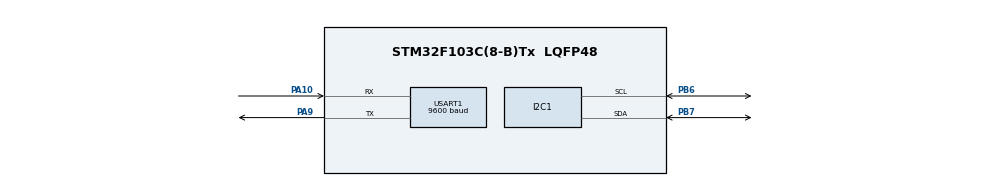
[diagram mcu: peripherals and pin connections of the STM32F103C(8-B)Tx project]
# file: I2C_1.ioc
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Mcu.Family=STM32F1
Mcu.Name=STM32F103C(8-B)Tx
Mcu.Package=LQFP48
NVIC.I2C1_ER_IRQn=true\:0\:0\:false\:false\:true\:true\:true\:true
NVIC.I2C1_EV_IRQn=true\:0\:0\:false\:false\:true\:true\:true\:true
NVIC.PriorityGroup=NVIC_PRIORITYGROUP_4
NVIC.USART1_IRQn=true\:0\:0\:false\:false\:true\:true\:true\:true
PA10.Mode=Asynchronous
PA10.Signal=USART1_RX
PA13.Mode=Serial_Wire
PA13.Signal=SYS_JTMS-SWDIO
PA14.Mode=Serial_Wire
PA14.Signal=SYS_JTCK-SWCLK
PA9.Mode=Asynchronous
PA9.Signal=USART1_TX
PB6.Mode=I2C
PB6.Signal=I2C1_SCL
PB7.Mode=I2C
PB7.Signal=I2C1_SDA
ProjectManager.HeapSize=0x200
ProjectManager.StackSize=0x400
ProjectManager.TargetToolchain=STM32CubeIDE
RCC.APB1Freq_Value=8000000
RCC.APB2Freq_Value=8000000
USART1.BaudRate=9600
USART1.VirtualMode=VM_ASYNC
board=custom

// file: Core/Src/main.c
/* USER CODE BEGIN Header */
/**
  ******************************************************************************
  * @file           : main.c
  * @brief          : Main program body
  ******************************************************************************
  * @attention
  *
  * Copyright (c) 2024 STMicroelectronics.
  * All rights reserved.
  *
  * This software is licensed under terms that can be found in the LICENSE file
  * in the root directory of this software component.
  * If no LICENSE file comes with this software, it is provided AS-IS.
  *
  ******************************************************************************
  */
/* USER CODE END Header */
#include "main.h"

I2C_HandleTypeDef hi2c1;

UART_HandleTypeDef huart1;

/* USER CODE BEGIN PV */
#define DS1307_I2C_ADDR 		0x68
#define DS1307_REG_SECOND 	0x00
#define DS1307_REG_MINUTE 	0x01
#define DS1307_REG_HOUR  		0x02
#define DS1307_REG_DOW    	0x03
#define DS1307_REG_DATE   	0x04
#define DS1307_REG_MONTH  	0x05
#define DS1307_REG_YEAR   	0x06
#define DS1307_REG_CONTROL 	0x07
#define DS1307_REG_UTC_HR		0x08
#define DS1307_REG_UTC_MIN	0x09
#define DS1307_REG_CENT    	0x10
#define DS1307_REG_RAM   		0x11
#define DS1307_TIMEOUT			1000

typedef struct {
	uint8_t sec;
	uint8_t min;
	uint8_t hour;
	uint8_t day;
	uint8_t month;
	uint8_t year;
	uint8_t I2C_buffer[8];
}DS1307_t;
/* USER CODE END PV */

void SystemClock_Config(void);
static void MX_GPIO_Init(void);
static void MX_I2C1_Init(void);
static void MX_USART1_UART_Init(void);
/* USER CODE BEGIN PFP */
uint8_t
/* USER CODE END PFP */

int main(void)
{

  /* MCU Configuration--------------------------------------------------------*/

  /* Reset of all peripherals, Initializes the Flash interface and the Systick. */
  HAL_Init();

  /* Configure the system clock */
  SystemClock_Config();

  /* Initialize all configured peripherals */
  MX_GPIO_Init();
  MX_I2C1_Init();
  MX_USART1_UART_Init();

  /* Infinite loop */
  while (1)
  {

  }
}

void SystemClock_Config(void)
{
  RCC_OscInitTypeDef RCC_OscInitStruct = {0};
  RCC_ClkInitTypeDef RCC_ClkInitStruct = {0};

  /** Initializes the RCC Oscillators according to the specified parameters
  * in the RCC_OscInitTypeDef structure.
  */
  RCC_OscInitStruct.OscillatorType = RCC_OSCILLATORTYPE_HSI;
  RCC_OscInitStruct.HSIState = RCC_HSI_ON;
  RCC_OscInitStruct.HSICalibrationValue = RCC_HSICALIBRATION_DEFAULT;
  RCC_OscInitStruct.PLL.PLLState = RCC_PLL_NONE;
  if (HAL_RCC_OscConfig(&RCC_OscInitStruct) != HAL_OK)
  {
    Error_Handler();
  }

  /** Initializes the CPU, AHB and APB buses clocks
  */
  RCC_ClkInitStruct.ClockType = RCC_CLOCKTYPE_HCLK|RCC_CLOCKTYPE_SYSCLK
                              |RCC_CLOCKTYPE_PCLK1|RCC_CLOCKTYPE_PCLK2;
  RCC_ClkInitStruct.SYSCLKSource = RCC_SYSCLKSOURCE_HSI;
  RCC_ClkInitStruct.AHBCLKDivider = RCC_SYSCLK_DIV1;
  RCC_ClkInitStruct.APB1CLKDivider = RCC_HCLK_DIV1;
  RCC_ClkInitStruct.APB2CLKDivider = RCC_HCLK_DIV1;

  if (HAL_RCC_ClockConfig(&RCC_ClkInitStruct, FLASH_LATENCY_0) != HAL_OK)
  {
    Error_Handler();
  }
}

static void MX_I2C1_Init(void)
{

  hi2c1.Instance = I2C1;
  hi2c1.Init.ClockSpeed = 100000;
  hi2c1.Init.DutyCycle = I2C_DUTYCYCLE_2;
  hi2c1.Init.OwnAddress1 = 0;
  hi2c1.Init.AddressingMode = I2C_ADDRESSINGMODE_7BIT;
  hi2c1.Init.DualAddressMode = I2C_DUALADDRESS_DISABLE;
  hi2c1.Init.OwnAddress2 = 0;
  hi2c1.Init.GeneralCallMode = I2C_GENERALCALL_DISABLE;
  hi2c1.Init.NoStretchMode = I2C_NOSTRETCH_DISABLE;
  if (HAL_I2C_Init(&hi2c1) != HAL_OK)
  {
    Error_Handler();
  }

}

static void MX_USART1_UART_Init(void)
{

  huart1.Instance = USART1;
  huart1.Init.BaudRate = 9600;
  huart1.Init.WordLength = UART_WORDLENGTH_8B;
  huart1.Init.StopBits = UART_STOPBITS_1;
  huart1.Init.Parity = UART_PARITY_NONE;
  huart1.Init.Mode = UART_MODE_TX_RX;
  huart1.Init.HwFlowCtl = UART_HWCONTROL_NONE;
  huart1.Init.OverSampling = UART_OVERSAMPLING_16;
  if (HAL_UART_Init(&huart1) != HAL_OK)
  {
    Error_Handler();
  }

}

static void MX_GPIO_Init(void)
{

  /* GPIO Ports Clock Enable */
  __HAL_RCC_GPIOA_CLK_ENABLE();
  __HAL_RCC_GPIOB_CLK_ENABLE();

}

void Error_Handler(void)
{
  __disable_irq();
  while (1)
  {
  }
}
